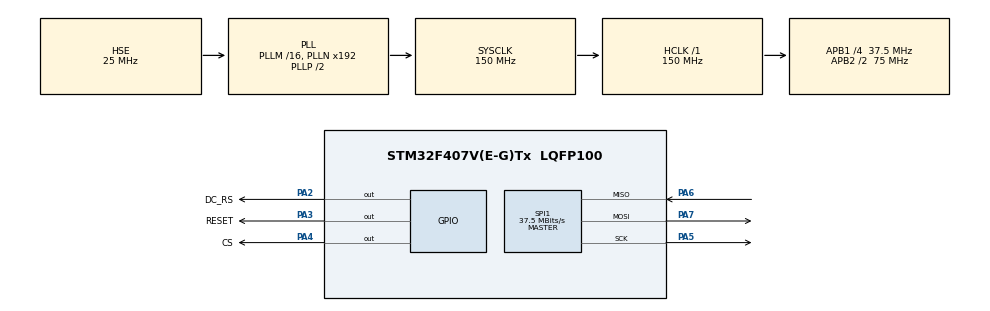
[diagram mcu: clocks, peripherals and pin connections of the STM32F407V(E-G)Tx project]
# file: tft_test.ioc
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Dma.Request0=SPI1_TX
Dma.SPI1_TX.0.Direction=DMA_MEMORY_TO_PERIPH
Dma.SPI1_TX.0.FIFOMode=DMA_FIFOMODE_DISABLE
Dma.SPI1_TX.0.Instance=DMA2_Stream3
Dma.SPI1_TX.0.MemDataAlignment=DMA_MDATAALIGN_BYTE
Dma.SPI1_TX.0.MemInc=DMA_MINC_ENABLE
Dma.SPI1_TX.0.Mode=DMA_NORMAL
Dma.SPI1_TX.0.PeriphDataAlignment=DMA_PDATAALIGN_BYTE
Dma.SPI1_TX.0.PeriphInc=DMA_PINC_DISABLE
Dma.SPI1_TX.0.Priority=DMA_PRIORITY_LOW
Mcu.Family=STM32F4
Mcu.Name=STM32F407V(E-G)Tx
Mcu.Package=LQFP100
NVIC.DMA2_Stream3_IRQn=true\:0\:0\:false\:false\:true\:false\:true\:true
NVIC.PriorityGroup=NVIC_PRIORITYGROUP_4
PA13.Mode=Serial_Wire
PA13.Signal=SYS_JTMS-SWDIO
PA14.Mode=Serial_Wire
PA14.Signal=SYS_JTCK-SWCLK
PA2.GPIO_Label=DC_RS
PA2.GPIO_PuPd=GPIO_PULLUP
PA2.PinState=GPIO_PIN_SET
PA2.Signal=GPIO_Output
PA3.GPIO_Label=RESET
PA3.GPIO_PuPd=GPIO_PULLUP
PA3.PinState=GPIO_PIN_SET
PA3.Signal=GPIO_Output
PA4.GPIO_Label=CS
PA4.GPIO_PuPd=GPIO_PULLUP
PA4.PinState=GPIO_PIN_SET
PA4.Signal=GPIO_Output
PA5.Mode=Full_Duplex_Master
PA5.Signal=SPI1_SCK
PA6.Mode=Full_Duplex_Master
PA6.Signal=SPI1_MISO
PA7.Mode=Full_Duplex_Master
PA7.Signal=SPI1_MOSI
PH0-OSC_IN.Mode=HSE-External-Oscillator
PH0-OSC_IN.Signal=RCC_OSC_IN
PH1-OSC_OUT.Mode=HSE-External-Oscillator
PH1-OSC_OUT.Signal=RCC_OSC_OUT
ProjectManager.HeapSize=0x200
ProjectManager.StackSize=0x400
ProjectManager.TargetToolchain=STM32CubeIDE
RCC.48MHZClocksFreq_Value=75000000
RCC.AHBFreq_Value=150000000
RCC.APB1CLKDivider=RCC_HCLK_DIV4
RCC.APB1Freq_Value=37500000
RCC.APB1TimFreq_Value=75000000
RCC.APB2CLKDivider=RCC_HCLK_DIV2
RCC.APB2Freq_Value=75000000
RCC.APB2TimFreq_Value=150000000
RCC.CortexFreq_Value=150000000
RCC.HCLKFreq_Value=150000000
RCC.HSE_VALUE=25000000
RCC.HSI_VALUE=16000000
RCC.LSE_VALUE=32768
RCC.PLLSourceVirtual=RCC_PLLSOURCE_HSE
RCC.SYSCLKFreq_VALUE=150000000
RCC.SYSCLKSource=RCC_SYSCLKSOURCE_PLLCLK
RCC.VCOOutputFreq_Value=300000000
SPI1.BaudRatePrescaler=SPI_BAUDRATEPRESCALER_2
SPI1.CLKPhase=SPI_PHASE_1EDGE
SPI1.CalculateBaudRate=37.5 MBits/s
SPI1.Direction=SPI_DIRECTION_2LINES
SPI1.Mode=SPI_MODE_MASTER
SPI1.VirtualType=VM_MASTER
board=custom

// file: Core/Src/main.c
/* USER CODE BEGIN Header */
/**
  ******************************************************************************
  * @file           : main.c
  * @brief          : Main program body
  ******************************************************************************
  * @attention
  *
  * Copyright (c) 2024 STMicroelectronics.
  * All rights reserved.
  *
  * This software is licensed under terms that can be found in the LICENSE file
  * in the root directory of this software component.
  * If no LICENSE file comes with this software, it is provided AS-IS.
  *
  ******************************************************************************
  */
/* USER CODE END Header */
#include "main.h"

SPI_HandleTypeDef hspi1;
DMA_HandleTypeDef hdma_spi1_tx;

void SystemClock_Config(void);
static void MX_GPIO_Init(void);
static void MX_DMA_Init(void);
static void MX_SPI1_Init(void);
/* USER CODE BEGIN PFP */
void init_tft(void);
void coord_to_MSByte_LSByte(uint16_t *dec, uint8_t *MSB, uint8_t *LSB);
void send_coordinates(uint16_t XS_dec, uint16_t XE_dec, uint16_t YS_dec, uint16_t YE_dec);
void color_to_MSByte_LSByte(uint16_t two_bytes, uint8_t *MSByte, uint8_t *LSByte);
void fill_by_color(uint16_t color, uint16_t length);

void fill_by_data(uint8_t image_data[], uint16_t length/*max65535*/);

//void fill_by_color(uint16_t color){

//}
//void fill_by_data();
/* USER CODE END PFP */

int main(void)
{

  /* MCU Configuration--------------------------------------------------------*/

  /* Reset of all peripherals, Initializes the Flash interface and the Systick. */
  HAL_Init();

  /* Configure the system clock */
  SystemClock_Config();

  /* Initialize all configured peripherals */
  MX_GPIO_Init();
  MX_DMA_Init();
  MX_SPI1_Init();
  /* USER CODE BEGIN 2 */

//  uint16_t XS_dec = 0;
//  uint16_t XE_dec = 320;
//  uint16_t YS_dec = 0;
//  uint16_t YE_dec = 480;
//
//
//
//  uint8_t image_data[25600];
//
//  uint16_t i;
//
//  for(i = 0; i < 25600; i = i+1){
//	image_data[i] = i;
//  }
HAL_Delay(10);
  init_tft();

  //HAL_Delay(100);

  send_coordinates(0, 320, 0, 100);
  fill_by_color(0xf800, 320*100);	//102 ok but 103 too much for second value

  send_coordinates(0, 320, 100, 200);
  fill_by_color(0xef01, 320*100);	//102 ok but 103 too much for second value

  send_coordinates(0, 320, 200, 300);
  fill_by_color(0xff80, 320*100);	//102 ok but 103 too much for second value

  send_coordinates(0, 320, 300, 400);
  fill_by_color(0x6789, 320*100);	//102 ok but 103 too much for second value

  send_coordinates(0, 320, 400, 480);
  fill_by_color(0x001f, 320*80);	//102 ok but 103 too much for second value

  send_coordinates(120, 220, 190, 290);
  uint8_t test_data[20000];
  uint16_t i;
  for(i = 0; i < 10000; i = i+1){
	  test_data[i] = i;
  }
  for(i = 10000; i < 20000; i = i+1){
	  test_data[i] = i*20;
  }
  fill_by_data(&test_data[0], 20000);

  /* USER CODE END 2 */

  /* Infinite loop */
  while (1)
  {

  }
}

void SystemClock_Config(void)
{
  RCC_OscInitTypeDef RCC_OscInitStruct = {0};
  RCC_ClkInitTypeDef RCC_ClkInitStruct = {0};

  /** Configure the main internal regulator output voltage
  */
  __HAL_RCC_PWR_CLK_ENABLE();
  __HAL_PWR_VOLTAGESCALING_CONFIG(PWR_REGULATOR_VOLTAGE_SCALE1);

  /** Initializes the RCC Oscillators according to the specified parameters
  * in the RCC_OscInitTypeDef structure.
  */
  RCC_OscInitStruct.OscillatorType = RCC_OSCILLATORTYPE_HSE;
  RCC_OscInitStruct.HSEState = RCC_HSE_ON;
  RCC_OscInitStruct.PLL.PLLState = RCC_PLL_ON;
  RCC_OscInitStruct.PLL.PLLSource = RCC_PLLSOURCE_HSE;
  RCC_OscInitStruct.PLL.PLLM = 16;
  RCC_OscInitStruct.PLL.PLLN = 192;
  RCC_OscInitStruct.PLL.PLLP = RCC_PLLP_DIV2;
  RCC_OscInitStruct.PLL.PLLQ = 4;
  if (HAL_RCC_OscConfig(&RCC_OscInitStruct) != HAL_OK)
  {
    Error_Handler();
  }

  /** Initializes the CPU, AHB and APB buses clocks
  */
  RCC_ClkInitStruct.ClockType = RCC_CLOCKTYPE_HCLK|RCC_CLOCKTYPE_SYSCLK
                              |RCC_CLOCKTYPE_PCLK1|RCC_CLOCKTYPE_PCLK2;
  RCC_ClkInitStruct.SYSCLKSource = RCC_SYSCLKSOURCE_PLLCLK;
  RCC_ClkInitStruct.AHBCLKDivider = RCC_SYSCLK_DIV1;
  RCC_ClkInitStruct.APB1CLKDivider = RCC_HCLK_DIV4;
  RCC_ClkInitStruct.APB2CLKDivider = RCC_HCLK_DIV2;

  if (HAL_RCC_ClockConfig(&RCC_ClkInitStruct, FLASH_LATENCY_4) != HAL_OK)
  {
    Error_Handler();
  }
}

static void MX_SPI1_Init(void)
{

  /* SPI1 parameter configuration*/
  hspi1.Instance = SPI1;
  hspi1.Init.Mode = SPI_MODE_MASTER;
  hspi1.Init.Direction = SPI_DIRECTION_2LINES;
  hspi1.Init.DataSize = SPI_DATASIZE_8BIT;
  hspi1.Init.CLKPolarity = SPI_POLARITY_LOW;
  hspi1.Init.CLKPhase = SPI_PHASE_1EDGE;
  hspi1.Init.NSS = SPI_NSS_SOFT;
  hspi1.Init.BaudRatePrescaler = SPI_BAUDRATEPRESCALER_2;
  hspi1.Init.FirstBit = SPI_FIRSTBIT_MSB;
  hspi1.Init.TIMode = SPI_TIMODE_DISABLE;
  hspi1.Init.CRCCalculation = SPI_CRCCALCULATION_DISABLE;
  hspi1.Init.CRCPolynomial = 10;
  if (HAL_SPI_Init(&hspi1) != HAL_OK)
  {
    Error_Handler();
  }

}

static void MX_DMA_Init(void)
{

  /* DMA controller clock enable */
  __HAL_RCC_DMA2_CLK_ENABLE();

  /* DMA interrupt init */
  /* DMA2_Stream3_IRQn interrupt configuration */
  HAL_NVIC_SetPriority(DMA2_Stream3_IRQn, 0, 0);
  HAL_NVIC_EnableIRQ(DMA2_Stream3_IRQn);

}

static void MX_GPIO_Init(void)
{
  GPIO_InitTypeDef GPIO_InitStruct = {0};

  /* GPIO Ports Clock Enable */
  __HAL_RCC_GPIOH_CLK_ENABLE();
  __HAL_RCC_GPIOA_CLK_ENABLE();

  /*Configure GPIO pin Output Level */
  HAL_GPIO_WritePin(GPIOA, DC_RS_Pin|RESET_Pin|CS_Pin, GPIO_PIN_SET);

  /*Configure GPIO pins : DC_RS_Pin RESET_Pin CS_Pin */
  GPIO_InitStruct.Pin = DC_RS_Pin|RESET_Pin|CS_Pin;
  GPIO_InitStruct.Mode = GPIO_MODE_OUTPUT_PP;
  GPIO_InitStruct.Pull = GPIO_PULLUP;
  GPIO_InitStruct.Speed = GPIO_SPEED_FREQ_LOW;
  HAL_GPIO_Init(GPIOA, &GPIO_InitStruct);

}

/* USER CODE BEGIN 4 */
//функция делает первую настройку
void init_tft(void){
	  uint8_t slpout_cmd = 0x11;
	  uint8_t noron_cmd = 0x13;
	  uint8_t dispon_cmd = 0x29;
	  uint8_t interf_pix_format_cmd = 0x3a;
	  uint8_t interf_pix_format_prm = 0b01010101;

	  HAL_GPIO_WritePin(GPIOA, RESET_Pin, 0);
	  HAL_GPIO_WritePin(GPIOA, RESET_Pin, 1);
	  HAL_GPIO_WritePin(GPIOA, DC_RS_Pin, 0);

	  //вышел из сна
	  HAL_GPIO_WritePin(GPIOA, CS_Pin, 0);
	  HAL_SPI_Transmit_DMA(&hspi1, &slpout_cmd, 1);
	  HAL_GPIO_WritePin(GPIOA, CS_Pin, 1);
	  //

	  //вкл нормальный режим
	  HAL_GPIO_WritePin(GPIOA, CS_Pin, 0);
	  HAL_SPI_Transmit_DMA(&hspi1, &noron_cmd, 1);
	  HAL_GPIO_WritePin(GPIOA, CS_Pin, 1);
	  //

//	  //вкл дисплей
//	  HAL_GPIO_WritePin(GPIOA, CS_Pin, 0);
//	  HAL_SPI_Transmit_DMA(&hspi1, &dispon_cmd, 1);
//	  HAL_GPIO_WritePin(GPIOA, CS_Pin, 1);
//	  //

	  //установить параметр пикселя
	  HAL_GPIO_WritePin(GPIOA, DC_RS_Pin, 0);
	  HAL_GPIO_WritePin(GPIOA, CS_Pin, 0);
	  HAL_SPI_Transmit_DMA(&hspi1, &interf_pix_format_cmd, 1);
	  HAL_GPIO_WritePin(GPIOA, CS_Pin, 1);
	  //
	  //параметры (16 бит 565)
	  HAL_GPIO_WritePin(GPIOA, DC_RS_Pin, 1);
	  HAL_GPIO_WritePin(GPIOA, CS_Pin, 0);
	  HAL_SPI_Transmit_DMA(&hspi1, &interf_pix_format_prm, 1);
	  HAL_GPIO_WritePin(GPIOA, CS_Pin, 1);
	  //

	  //вкл дисплей
	  HAL_GPIO_WritePin(GPIOA, DC_RS_Pin, 0);
	  HAL_GPIO_WritePin(GPIOA, CS_Pin, 0);
	  HAL_SPI_Transmit_DMA(&hspi1, &dispon_cmd, 1);
	  HAL_GPIO_WritePin(GPIOA, CS_Pin, 1);
	  //
}

//****************************************************************************
//есть функция устанавливающая Хстарт и Хенд, и функция для Устарт и Уенд
//параметрами вышеупомянутой функции являются Хстарт Хенд Устарт Уенд
//каждый из этих параметров передается двумя 8битными числами
//и если координата больше 255, то появляется старший разряд
//этот разряд помещается в MSB, а в LSB помещается остаток
//****************************************************************************
//данная функция преобразует 16 битное число в 2 восьмибитных
void coord_to_MSByte_LSByte(uint16_t *dec, uint8_t *MSB, uint8_t *LSB){
	if(*dec < 256){
		*MSB = 0;
		*LSB = *dec;
	}else{
		*MSB = 1;
		*LSB = *dec - 256;
	}
}

void send_coordinates(uint16_t XS_dec, uint16_t XE_dec, uint16_t YS_dec, uint16_t YE_dec){
	  uint8_t column_set_cmd = 0x2a;
	  uint8_t raw_set_cmd = 0x2b;

	  uint8_t XS_MSB, XS_LSB,
	  	  	  XE_MSB, XE_LSB,
			  YS_MSB, YS_LSB,
			  YE_MSB, YE_LSB;

	  coord_to_MSByte_LSByte(&XS_dec, &XS_MSB, &XS_LSB);
	  coord_to_MSByte_LSByte(&XE_dec, &XE_MSB, &XE_LSB);
	  coord_to_MSByte_LSByte(&YS_dec, &YS_MSB, &YS_LSB);
	  coord_to_MSByte_LSByte(&YE_dec, &YE_MSB, &YE_LSB);

	  //установить столбец
	  	HAL_GPIO_WritePin(GPIOA, DC_RS_Pin, 0);
	    HAL_GPIO_WritePin(GPIOA, CS_Pin, 0);
	    HAL_SPI_Transmit_DMA(&hspi1, &column_set_cmd, 1);
	    HAL_GPIO_WritePin(GPIOA, CS_Pin, 1);
	    //
	    //parameters
	    HAL_GPIO_WritePin(GPIOA, DC_RS_Pin, 1);
	    HAL_GPIO_WritePin(GPIOA, CS_Pin, 0);
	    HAL_SPI_Transmit_DMA(&hspi1, &XS_MSB, 1);
	    HAL_GPIO_WritePin(GPIOA, CS_Pin, 1);
	    HAL_GPIO_WritePin(GPIOA, CS_Pin, 0);
	    HAL_SPI_Transmit_DMA(&hspi1, &XS_LSB, 1);
	    HAL_GPIO_WritePin(GPIOA, CS_Pin, 1);
	    HAL_GPIO_WritePin(GPIOA, CS_Pin, 0);
	    HAL_SPI_Transmit_DMA(&hspi1, &XE_MSB, 1);
	    HAL_GPIO_WritePin(GPIOA, CS_Pin, 1);
	    HAL_GPIO_WritePin(GPIOA, CS_Pin, 0);
	    HAL_SPI_Transmit_DMA(&hspi1, &XE_LSB, 1);
	    HAL_GPIO_WritePin(GPIOA, CS_Pin, 1);
	    //

	    //установить строку
	    HAL_GPIO_WritePin(GPIOA, DC_RS_Pin, 0);
	    HAL_GPIO_WritePin(GPIOA, CS_Pin, 0);
	    HAL_SPI_Transmit_DMA(&hspi1, &raw_set_cmd, 1);
	    HAL_GPIO_WritePin(GPIOA, CS_Pin, 1);
	    //
	    //параметры
	    HAL_GPIO_WritePin(GPIOA, DC_RS_Pin, 1);
	    HAL_GPIO_WritePin(GPIOA, CS_Pin, 0);
	    HAL_SPI_Transmit_DMA(&hspi1, &YS_MSB, 1);
	    HAL_GPIO_WritePin(GPIOA, CS_Pin, 1);
	    HAL_GPIO_WritePin(GPIOA, CS_Pin, 0);
	    HAL_SPI_Transmit_DMA(&hspi1, &YS_LSB, 1);
	    HAL_GPIO_WritePin(GPIOA, CS_Pin, 1);
	    HAL_GPIO_WritePin(GPIOA, CS_Pin, 0);
	    HAL_SPI_Transmit_DMA(&hspi1, &YE_MSB, 1);
	    HAL_GPIO_WritePin(GPIOA, CS_Pin, 1);
	    HAL_GPIO_WritePin(GPIOA, CS_Pin, 0);
	    HAL_SPI_Transmit_DMA(&hspi1, &YE_LSB, 1);
	    HAL_GPIO_WritePin(GPIOA, CS_Pin, 1);
	    //
}

//here is problem
void color_to_MSByte_LSByte(uint16_t two_bytes, uint8_t *MSByte, uint8_t *LSByte){
	*MSByte = two_bytes >> 8;
	*LSByte = two_bytes - 0xFF00;
}

void fill_by_color(uint16_t color, uint16_t length){
	uint8_t MSByte, LSByte;
	color_to_MSByte_LSByte(color, &MSByte, &LSByte);
	uint8_t memwr_cmd = 0x2c;
	//MSByte = 0x00;
	//LSByte = 0xf8;
	uint16_t i = 0;	//16
	uint8_t data[length*2];	//multiple two because 1 pix has two bytes, thus cycle must be 2 times long
	for(i = 0; i < length*2; i = i+2){
		data[i] = LSByte;
		data[i+1] = MSByte;
	}

	 //записать в память
	  HAL_GPIO_WritePin(GPIOA, DC_RS_Pin, 0);
	  HAL_GPIO_WritePin(GPIOA, CS_Pin, 0);
	  HAL_SPI_Transmit_DMA(&hspi1, &memwr_cmd, 1);
	  HAL_GPIO_WritePin(GPIOA, CS_Pin, 1);
	  //передача цвета в память дисплея
	  HAL_GPIO_WritePin(GPIOA, DC_RS_Pin, 1);
	  HAL_GPIO_WritePin(GPIOA, CS_Pin, 0);

	  //HAL_SPI_Transmit(&hspi1, &data[0], length*2, 10);
	  HAL_SPI_Transmit_DMA(&hspi1, &data[0], length*2);
	  HAL_Delay(15);

	  HAL_GPIO_WritePin(GPIOA, CS_Pin, 1);
}

void fill_by_data(uint8_t image_data[], uint16_t length/*max65535*/){
	  uint8_t memwr_cmd = 0x2c;

	  //записать в память
	  HAL_GPIO_WritePin(GPIOA, DC_RS_Pin, 0);
	  HAL_GPIO_WritePin(GPIOA, CS_Pin, 0);
	  HAL_SPI_Transmit_DMA(&hspi1, &memwr_cmd, 1);
	  HAL_GPIO_WritePin(GPIOA, CS_Pin, 1);

	  //передача цвета в память дисплея
	  HAL_GPIO_WritePin(GPIOA, DC_RS_Pin, 1);
	  HAL_GPIO_WritePin(GPIOA, CS_Pin, 0);
	  HAL_SPI_Transmit_DMA(&hspi1, &image_data[0], length);
	  HAL_Delay(15);
	  HAL_GPIO_WritePin(GPIOA, CS_Pin, 1);
}
/* USER CODE END 4 */

void Error_Handler(void)
{
  __disable_irq();
  while (1)
  {
  }
}
